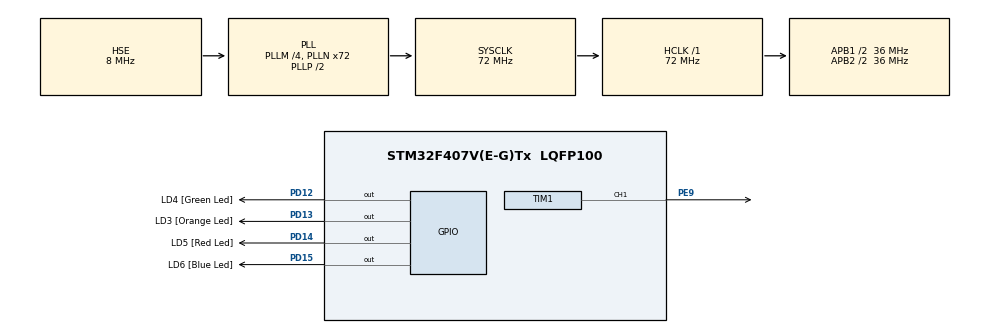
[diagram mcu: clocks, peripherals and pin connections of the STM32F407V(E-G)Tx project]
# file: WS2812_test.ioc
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Dma.Request0=TIM1_CH1
Dma.TIM1_CH1.0.Direction=DMA_MEMORY_TO_PERIPH
Dma.TIM1_CH1.0.FIFOMode=DMA_FIFOMODE_DISABLE
Dma.TIM1_CH1.0.Instance=DMA2_Stream1
Dma.TIM1_CH1.0.MemDataAlignment=DMA_MDATAALIGN_HALFWORD
Dma.TIM1_CH1.0.MemInc=DMA_MINC_ENABLE
Dma.TIM1_CH1.0.Mode=DMA_NORMAL
Dma.TIM1_CH1.0.PeriphDataAlignment=DMA_PDATAALIGN_HALFWORD
Dma.TIM1_CH1.0.PeriphInc=DMA_PINC_DISABLE
Dma.TIM1_CH1.0.Priority=DMA_PRIORITY_LOW
Mcu.Family=STM32F4
Mcu.Name=STM32F407V(E-G)Tx
Mcu.Package=LQFP100
NVIC.DMA2_Stream1_IRQn=true\:0\:0\:false\:false\:true\:false\:true\:true
NVIC.PriorityGroup=NVIC_PRIORITYGROUP_0
PA13.GPIO_Label=SWDIO
PA13.Mode=Trace_Asynchronous_SW
PA13.Signal=SYS_JTMS-SWDIO
PA14.GPIO_Label=SWCLK
PA14.Mode=Trace_Asynchronous_SW
PA14.Signal=SYS_JTCK-SWCLK
PB3.GPIO_Label=SWO
PB3.Mode=Trace_Asynchronous_SW
PB3.Signal=SYS_JTDO-SWO
PC14-OSC32_IN.GPIO_Label=PC14-OSC32_IN
PC14-OSC32_IN.Mode=LSE-External-Oscillator
PC14-OSC32_IN.Signal=RCC_OSC32_IN
PC15-OSC32_OUT.GPIO_Label=PC15-OSC32_OUT
PC15-OSC32_OUT.Mode=LSE-External-Oscillator
PC15-OSC32_OUT.Signal=RCC_OSC32_OUT
PD12.GPIO_Label=LD4 [Green Led]
PD12.GPIO_PuPd=GPIO_NOPULL
PD12.GPIO_Speed=GPIO_SPEED_FREQ_LOW
PD12.Signal=GPIO_Output
PD13.GPIO_Label=LD3 [Orange Led]
PD13.GPIO_PuPd=GPIO_NOPULL
PD13.GPIO_Speed=GPIO_SPEED_FREQ_LOW
PD13.Signal=GPIO_Output
PD14.GPIO_Label=LD5 [Red Led]
PD14.GPIO_PuPd=GPIO_NOPULL
PD14.GPIO_Speed=GPIO_SPEED_FREQ_LOW
PD14.Signal=GPIO_Output
PD15.GPIO_Label=LD6 [Blue Led]
PD15.GPIO_PuPd=GPIO_NOPULL
PD15.GPIO_Speed=GPIO_SPEED_FREQ_LOW
PD15.Signal=GPIO_Output
PE9.Signal=S_TIM1_CH1
PH0-OSC_IN.GPIO_Label=PH0-OSC_IN
PH0-OSC_IN.Mode=HSE-External-Oscillator
PH0-OSC_IN.Signal=RCC_OSC_IN
PH1-OSC_OUT.GPIO_Label=PH1-OSC_OUT
PH1-OSC_OUT.Mode=HSE-External-Oscillator
PH1-OSC_OUT.Signal=RCC_OSC_OUT
ProjectManager.HeapSize=0x200
ProjectManager.StackSize=0x400
ProjectManager.TargetToolchain=STM32CubeIDE
RCC.48MHZClocksFreq_Value=20571428.57142857
RCC.AHBFreq_Value=72000000
RCC.APB1CLKDivider=RCC_HCLK_DIV2
RCC.APB1Freq_Value=36000000
RCC.APB1TimFreq_Value=72000000
RCC.APB2CLKDivider=RCC_HCLK_DIV2
RCC.APB2Freq_Value=36000000
RCC.APB2TimFreq_Value=72000000
RCC.CortexFreq_Value=72000000
RCC.HCLKFreq_Value=72000000
RCC.HSE_VALUE=8000000
RCC.HSI_VALUE=16000000
RCC.PLLM=4
RCC.PLLN=72
RCC.PLLQ=7
RCC.PLLSourceVirtual=RCC_PLLSOURCE_HSE
RCC.SYSCLKFreq_VALUE=72000000
RCC.SYSCLKSource=RCC_SYSCLKSOURCE_PLLCLK
RCC.VCOOutputFreq_Value=144000000
SH.S_TIM1_CH1.0=TIM1_CH1,PWM Generation1 CH1
TIM1.Channel-PWM\ Generation1\ CH1=TIM_CHANNEL_1
TIM1.Period=90-1
TIM1.Prescaler=0
VP_TIM1_VS_ClockSourceINT.Mode=Internal
board=STM32F407G-DISC1

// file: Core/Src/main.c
/* USER CODE BEGIN Header */
/**
  ******************************************************************************
  * @file           : main.c
  * @brief          : Main program body
  ******************************************************************************
  * @attention
  *
  * Copyright (c) 2023 STMicroelectronics.
  * All rights reserved.
  *
  * This software is licensed under terms that can be found in the LICENSE file
  * in the root directory of this software component.
  * If no LICENSE file comes with this software, it is provided AS-IS.
  *
  ******************************************************************************
  */
/* USER CODE END Header */
#include "main.h"
#include <math.h>

TIM_HandleTypeDef htim1;
DMA_HandleTypeDef hdma_tim1_ch1;

void SystemClock_Config(void);
static void MX_GPIO_Init(void);
static void MX_DMA_Init(void);
static void MX_TIM1_Init(void);

/* USER CODE BEGIN 0 */
#define LED_MAX 20
#define USE_BRIGHTNESS 1

uint8_t LED_Data[LED_MAX][4];  // for color
uint8_t LED_Mod[LED_MAX][4];  // for brightness

uint8_t dataSent_bool = 0;

int16_t red = 255;
int16_t green = 0;
int32_t blue = 0;

void HAL_TIM_PWM_PulseFinishedCallback(TIM_HandleTypeDef *htim){
	HAL_TIM_PWM_Stop(&htim1, TIM_CHANNEL_1);

	dataSent_bool = 1;
}

void Set_LED(int32_t LEDnum, int32_t Red, int32_t Green, int32_t Blue){
	LED_Data[LEDnum][0] = LEDnum;
	LED_Data[LEDnum][1] = Green;
	LED_Data[LEDnum][2] = Red;
	LED_Data[LEDnum][3] = Blue;
}

void Set_Brightness(uint32_t brightness){
#if USE_BRIGHTNESS

	if(brightness > 45){
		brightness = 45;
	}

	for (int i=0; i<LED_MAX; i++){
			LED_Mod[i][0] = LED_Data[i][0];
			for (int j=1; j<4; j++){
				float angle = 90-brightness;  // in degrees
				angle = angle*M_PI / 180;  // in rad
				LED_Mod[i][j] = (LED_Data[i][j])/(tan(angle));
			}
	}
#endif
}

uint16_t pwmData[(24*LED_MAX)+50];

void WS2812_Send (void)
{
	uint32_t indx=0;
	uint32_t color;

	for (int i= 0; i<LED_MAX; i++)
	{
#if USE_BRIGHTNESS
		color = ((LED_Mod[i][1]<<16) | (LED_Mod[i][2]<<8) | (LED_Mod[i][3]));
#else
		color = ((LED_Data[i][1]<<16) | (LED_Data[i][2]<<8) | (LED_Data[i][3]));
#endif

		for (int i=23; i>=0; i--)
		{
			if (color&(1<<i))
			{
				pwmData[indx] = 60;  // 2/3 of 90
			}

			else pwmData[indx] = 30;  // 1/3 of 90

			indx++;
		}

	}

	for (int i=0; i<50; i++)
	{
		pwmData[indx] = 0;
		indx++;
	}

	HAL_TIM_PWM_Start_DMA(&htim1, TIM_CHANNEL_1, (uint32_t *)pwmData, indx);
	while (!dataSent_bool){};
	dataSent_bool = 0;
}

/* USER CODE END 0 */

int main(void)
{

  /* MCU Configuration--------------------------------------------------------*/

  /* Reset of all peripherals, Initializes the Flash interface and the Systick. */
  HAL_Init();

  /* Configure the system clock */
  SystemClock_Config();

  /* Initialize all configured peripherals */
  MX_GPIO_Init();
  MX_DMA_Init();
  MX_TIM1_Init();

  /* Infinite loop */
  /* USER CODE BEGIN WHILE */

  while (1)
  {
	  uint32_t step = (255 * 1) / LED_MAX;

	  for (int32_t i = 0; i <= LED_MAX; i ++){

		  if(red >= 255 && blue <= 255){
			  blue += step;
		  }

		  if(red >= 0 && blue >= 255){
			  red -= step;
		  }

		  if(red <= 0 && blue >= 0){
			  blue -= step;
		  }

		  if(red <= 255 && blue <= 0){
			  red += step;
		  }

		  Set_LED(i, red, green, blue);
		  Set_Brightness(20);
		  WS2812_Send();

		  HAL_Delay(20);
	  }

//	  for (int i=0; i<46; i++)
//	  {
//		  Set_Brightness(i);
//		  WS2812_Send();
//		  HAL_Delay (50);
//	  }
//
//	  for (int i=45; i>=0; i--)
//	  {
//		  Set_Brightness(i);
//		  WS2812_Send();
//		  HAL_Delay (50);
//	  }
  }
    /* USER CODE END WHILE */

}

void SystemClock_Config(void)
{
  RCC_OscInitTypeDef RCC_OscInitStruct = {0};
  RCC_ClkInitTypeDef RCC_ClkInitStruct = {0};

  /** Configure the main internal regulator output voltage
  */
  __HAL_RCC_PWR_CLK_ENABLE();
  __HAL_PWR_VOLTAGESCALING_CONFIG(PWR_REGULATOR_VOLTAGE_SCALE1);

  /** Initializes the RCC Oscillators according to the specified parameters
  * in the RCC_OscInitTypeDef structure.
  */
  RCC_OscInitStruct.OscillatorType = RCC_OSCILLATORTYPE_HSE;
  RCC_OscInitStruct.HSEState = RCC_HSE_ON;
  RCC_OscInitStruct.PLL.PLLState = RCC_PLL_ON;
  RCC_OscInitStruct.PLL.PLLSource = RCC_PLLSOURCE_HSE;
  RCC_OscInitStruct.PLL.PLLM = 4;
  RCC_OscInitStruct.PLL.PLLN = 72;
  RCC_OscInitStruct.PLL.PLLP = RCC_PLLP_DIV2;
  RCC_OscInitStruct.PLL.PLLQ = 7;
  if (HAL_RCC_OscConfig(&RCC_OscInitStruct) != HAL_OK)
  {
    Error_Handler();
  }

  /** Initializes the CPU, AHB and APB buses clocks
  */
  RCC_ClkInitStruct.ClockType = RCC_CLOCKTYPE_HCLK|RCC_CLOCKTYPE_SYSCLK
                              |RCC_CLOCKTYPE_PCLK1|RCC_CLOCKTYPE_PCLK2;
  RCC_ClkInitStruct.SYSCLKSource = RCC_SYSCLKSOURCE_PLLCLK;
  RCC_ClkInitStruct.AHBCLKDivider = RCC_SYSCLK_DIV1;
  RCC_ClkInitStruct.APB1CLKDivider = RCC_HCLK_DIV2;
  RCC_ClkInitStruct.APB2CLKDivider = RCC_HCLK_DIV2;

  if (HAL_RCC_ClockConfig(&RCC_ClkInitStruct, FLASH_LATENCY_2) != HAL_OK)
  {
    Error_Handler();
  }
}

static void MX_TIM1_Init(void)
{

  TIM_ClockConfigTypeDef sClockSourceConfig = {0};
  TIM_MasterConfigTypeDef sMasterConfig = {0};
  TIM_OC_InitTypeDef sConfigOC = {0};
  TIM_BreakDeadTimeConfigTypeDef sBreakDeadTimeConfig = {0};

  htim1.Instance = TIM1;
  htim1.Init.Prescaler = 0;
  htim1.Init.CounterMode = TIM_COUNTERMODE_UP;
  htim1.Init.Period = 90-1;
  htim1.Init.ClockDivision = TIM_CLOCKDIVISION_DIV1;
  htim1.Init.RepetitionCounter = 0;
  htim1.Init.AutoReloadPreload = TIM_AUTORELOAD_PRELOAD_DISABLE;
  if (HAL_TIM_Base_Init(&htim1) != HAL_OK)
  {
    Error_Handler();
  }
  sClockSourceConfig.ClockSource = TIM_CLOCKSOURCE_INTERNAL;
  if (HAL_TIM_ConfigClockSource(&htim1, &sClockSourceConfig) != HAL_OK)
  {
    Error_Handler();
  }
  if (HAL_TIM_PWM_Init(&htim1) != HAL_OK)
  {
    Error_Handler();
  }
  sMasterConfig.MasterOutputTrigger = TIM_TRGO_RESET;
  sMasterConfig.MasterSlaveMode = TIM_MASTERSLAVEMODE_DISABLE;
  if (HAL_TIMEx_MasterConfigSynchronization(&htim1, &sMasterConfig) != HAL_OK)
  {
    Error_Handler();
  }
  sConfigOC.OCMode = TIM_OCMODE_PWM1;
  sConfigOC.Pulse = 0;
  sConfigOC.OCPolarity = TIM_OCPOLARITY_HIGH;
  sConfigOC.OCNPolarity = TIM_OCNPOLARITY_HIGH;
  sConfigOC.OCFastMode = TIM_OCFAST_DISABLE;
  sConfigOC.OCIdleState = TIM_OCIDLESTATE_RESET;
  sConfigOC.OCNIdleState = TIM_OCNIDLESTATE_RESET;
  if (HAL_TIM_PWM_ConfigChannel(&htim1, &sConfigOC, TIM_CHANNEL_1) != HAL_OK)
  {
    Error_Handler();
  }
  sBreakDeadTimeConfig.OffStateRunMode = TIM_OSSR_DISABLE;
  sBreakDeadTimeConfig.OffStateIDLEMode = TIM_OSSI_DISABLE;
  sBreakDeadTimeConfig.LockLevel = TIM_LOCKLEVEL_OFF;
  sBreakDeadTimeConfig.DeadTime = 0;
  sBreakDeadTimeConfig.BreakState = TIM_BREAK_DISABLE;
  sBreakDeadTimeConfig.BreakPolarity = TIM_BREAKPOLARITY_HIGH;
  sBreakDeadTimeConfig.AutomaticOutput = TIM_AUTOMATICOUTPUT_DISABLE;
  if (HAL_TIMEx_ConfigBreakDeadTime(&htim1, &sBreakDeadTimeConfig) != HAL_OK)
  {
    Error_Handler();
  }
  HAL_TIM_MspPostInit(&htim1);

}

static void MX_DMA_Init(void)
{

  /* DMA controller clock enable */
  __HAL_RCC_DMA2_CLK_ENABLE();

  /* DMA interrupt init */
  /* DMA2_Stream1_IRQn interrupt configuration */
  HAL_NVIC_SetPriority(DMA2_Stream1_IRQn, 0, 0);
  HAL_NVIC_EnableIRQ(DMA2_Stream1_IRQn);

}

static void MX_GPIO_Init(void)
{
  GPIO_InitTypeDef GPIO_InitStruct = {0};

  /* GPIO Ports Clock Enable */
  __HAL_RCC_GPIOC_CLK_ENABLE();
  __HAL_RCC_GPIOH_CLK_ENABLE();
  __HAL_RCC_GPIOE_CLK_ENABLE();
  __HAL_RCC_GPIOD_CLK_ENABLE();
  __HAL_RCC_GPIOA_CLK_ENABLE();
  __HAL_RCC_GPIOB_CLK_ENABLE();

  /*Configure GPIO pin Output Level */
  HAL_GPIO_WritePin(GPIOD, LD4_Pin|LD3_Pin|LD5_Pin|LD6_Pin, GPIO_PIN_RESET);

  /*Configure GPIO pins : LD4_Pin LD3_Pin LD5_Pin LD6_Pin */
  GPIO_InitStruct.Pin = LD4_Pin|LD3_Pin|LD5_Pin|LD6_Pin;
  GPIO_InitStruct.Mode = GPIO_MODE_OUTPUT_PP;
  GPIO_InitStruct.Pull = GPIO_NOPULL;
  GPIO_InitStruct.Speed = GPIO_SPEED_FREQ_LOW;
  HAL_GPIO_Init(GPIOD, &GPIO_InitStruct);

}

void Error_Handler(void)
{
  __disable_irq();
  while (1)
  {
  }
}
